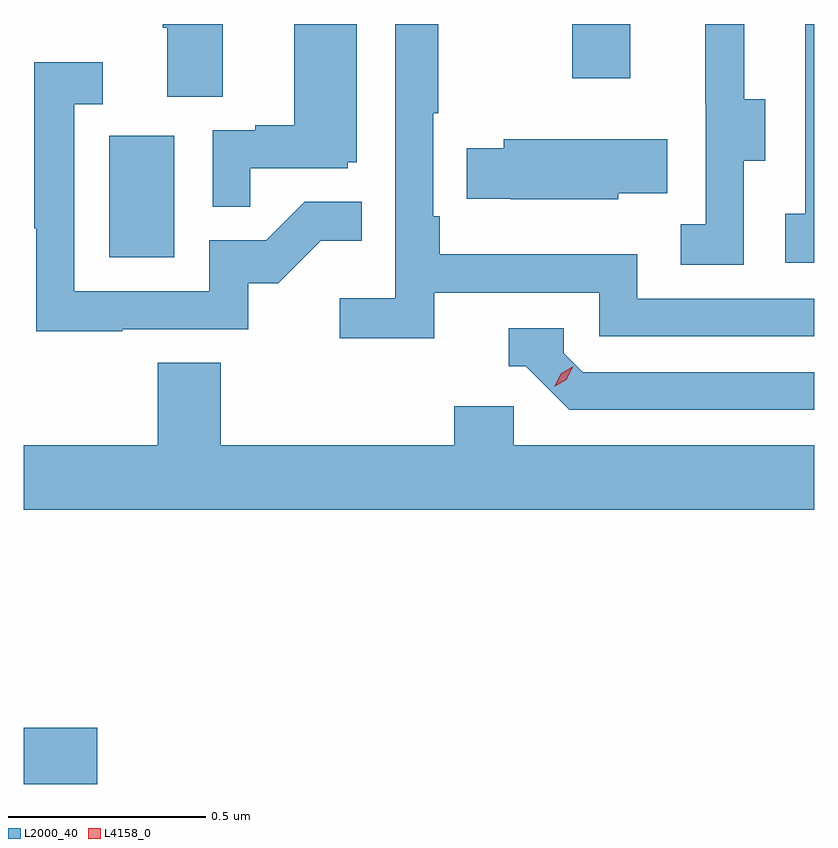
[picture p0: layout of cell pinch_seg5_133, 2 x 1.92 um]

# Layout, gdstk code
import gdstk
lib = gdstk.Library(unit=1e-6, precision=1e-09)
def R(c, l, rs):  # rectangles x0, y0, x1, y1
    for r in rs: c.add(gdstk.rectangle(r[:2], r[2:], *l))
def P(c, l, *ps):  # polygons
    for p in ps: c.add(gdstk.Polygon(p, *l))
L2000_40 = (2000, 40)
L4158_0 = (4158, 0)

pinch_seg5_133 = lib.new_cell('pinch_seg5_133')
R(pinch_seg5_133, L2000_40, [(1061.984,881.374,1062.169,881.516), (1062.2,882.708,1062.364,883.015), (1063.372,883.161,1063.519,883.298)])
P(pinch_seg5_133, L2000_40, [(1062.487,883.298),(1062.335,883.298),(1062.335,883.288),(1062.347,883.288),(1062.347,883.114),(1062.487,883.114)],
  [(1063.022,882.618),(1063.44,882.618),(1063.44,882.507),(1063.984,882.507),(1063.984,882.603),(1063.536,882.603),(1063.536,882.715),(1063.037,882.715),(1063.037,882.811),(1063.02,882.811),(1063.02,883.072),(1063.033,883.072),(1063.033,883.298),(1062.924,883.298),(1062.924,882.604),(1062.783,882.604),(1062.783,882.502),(1063.022,882.502)],
  [(1063.984,883.298),(1063.962,883.298),(1063.962,882.818),(1063.911,882.818),(1063.911,882.693),(1063.984,882.693)],
  [(1063.806,882.952),(1063.861,882.952),(1063.861,883.107),(1063.807,883.107),(1063.807,883.298),(1063.709,883.298),(1063.709,883.095),(1063.71,883.095),(1063.71,882.791),(1063.647,882.791),(1063.647,882.688),(1063.806,882.688)],
  [(1062.557,882.933),(1062.804,882.933),(1062.804,882.948),(1062.826,882.948),(1062.826,883.297),(1062.668,883.297),(1062.668,883.042),(1062.569,883.042),(1062.569,883.029),(1062.462,883.029),(1062.462,882.835),(1062.557,882.835)],
  [(1062.233,882.525),(1062.552,882.525),(1062.552,882.642),(1062.628,882.642),(1062.735,882.749),(1062.839,882.749),(1062.839,882.848),(1062.695,882.848),(1062.597,882.75),(1062.453,882.75),(1062.453,882.621),(1062.111,882.621),(1062.111,883.095),(1062.184,883.095),(1062.184,883.201),(1062.01,883.201),(1062.01,882.781),(1062.015,882.781),(1062.015,882.52),(1062.233,882.52)],
  [(1063.488,882.869),(1063.613,882.869),(1063.613,883.006),(1063.199,883.006),(1063.199,882.984),(1063.105,882.984),(1063.105,882.855),(1063.216,882.855),(1063.216,882.854),(1063.488,882.854)],
  [(1063.984,882.417),(1063.398,882.417),(1063.35,882.465),(1063.35,882.528),(1063.211,882.528),(1063.211,882.432),(1063.254,882.432),(1063.365,882.321),(1063.984,882.321)],
  [(1063.984,882.232),(1063.224,882.232),(1063.224,882.33),(1063.073,882.33),(1063.073,882.232),(1062.482,882.232),(1062.482,882.44),(1062.322,882.44),(1062.322,882.232),(1061.984,882.232),(1061.984,882.068),(1063.984,882.068)])
P(pinch_seg5_133, L4158_0, [(1063.326,882.38),(1063.326,882.38),(1063.343,882.412),(1063.374,882.431),(1063.374,882.431),(1063.374,882.431),(1063.357,882.398),(1063.326,882.38)])

lib.write_gds('pinch_seg5_133.gds')
